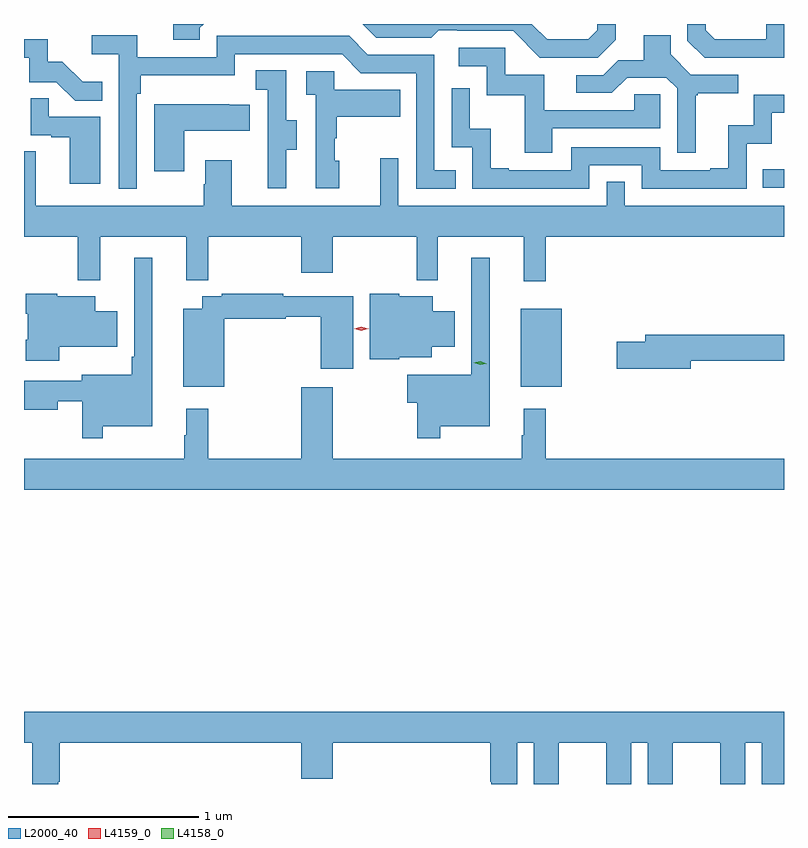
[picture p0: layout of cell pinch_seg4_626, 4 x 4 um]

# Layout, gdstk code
import gdstk
lib = gdstk.Library(unit=1e-6, precision=1e-09)
def R(c, l, rs):  # rectangles x0, y0, x1, y1
    for r in rs: c.add(gdstk.rectangle(r[:2], r[2:], *l))
def P(c, l, *ps):  # polygons
    for p in ps: c.add(gdstk.Polygon(p, *l))
L2000_40 = (2000, 40)
L4158_0 = (4158, 0)
L4159_0 = (4159, 0)

pinch_seg4_626 = lib.new_cell('pinch_seg4_626')
R(pinch_seg4_626, L2000_40, [(1029.299,754.739,1029.514,755.149), (1030.573,755.787,1030.684,755.884)])
P(pinch_seg4_626, L2000_40, [(1030.684,756.648),(1030.59,756.648),(1030.59,756.567),(1030.32,756.567),(1030.272,756.615),(1030.272,756.648),(1030.176,756.648),(1030.176,756.561),(1030.266,756.471),(1030.482,756.471),(1030.482,756.47),(1030.684,756.47)],
  [(1029.799,756.565),(1029.799,756.648),(1029.702,756.648),(1029.702,756.615),(1029.654,756.567),(1029.438,756.567),(1029.357,756.648),(1028.466,756.648),(1028.538,756.576),(1028.827,756.576),(1028.866,756.615),(1028.965,756.615),(1028.965,756.612),(1029.258,756.612),(1029.399,756.471),(1029.705,756.471)],
  [(1027.608,756.627),(1027.629,756.648),(1027.469,756.648),(1027.469,756.564),(1027.608,756.564)],
  [(1027.278,756.281),(1027.298,756.281),(1027.298,756.377),(1027.794,756.377),(1027.794,756.489),(1028.358,756.489),(1028.457,756.39),(1028.748,756.39),(1028.748,755.781),(1028.957,755.781),(1028.957,755.877),(1028.844,755.877),(1028.844,756.486),(1028.494,756.486),(1028.395,756.585),(1027.698,756.585),(1027.698,756.474),(1027.28,756.474),(1027.28,756.59),(1027.041,756.59),(1027.041,756.488),(1027.182,756.488),(1027.182,755.781),(1027.278,755.781)],
  [(1030.219,756.273),(1030.231,756.273),(1030.231,756.284),(1030.444,756.284),(1030.444,756.381),(1030.194,756.381),(1030.087,756.488),(1030.087,756.59),(1029.947,756.59),(1029.947,756.458),(1029.812,756.458),(1029.732,756.378),(1029.591,756.378),(1029.591,756.285),(1029.778,756.285),(1029.859,756.366),(1030.065,756.366),(1030.122,756.309),(1030.122,755.97),(1030.219,755.97)],
  [(1027.097,756.343),(1026.993,756.343),(1026.886,756.45),(1026.81,756.45),(1026.81,756.567),(1026.684,756.567),(1026.684,756.471),(1026.711,756.471),(1026.711,756.342),(1026.855,756.342),(1026.953,756.244),(1027.097,756.244)],
  [(1029.463,756.099),(1030.032,756.099),(1030.032,756.279),(1029.895,756.279),(1029.895,756.195),(1029.421,756.195),(1029.421,756.381),(1029.216,756.381),(1029.216,756.522),(1028.973,756.522),(1028.973,756.426),(1029.12,756.426),(1029.12,756.273),(1029.319,756.273),(1029.319,755.97),(1029.463,755.97)],
  [(1028.065,755.986),(1028.119,755.986),(1028.119,756.141),(1028.064,756.141),(1028.064,756.404),(1027.905,756.404),(1027.905,756.301),(1027.968,756.301),(1027.968,755.997),(1027.967,755.997),(1027.967,755.784),(1028.065,755.784)],
  [(1028.344,755.928),(1028.319,755.928),(1028.319,756.047),(1028.329,756.047),(1028.329,756.161),(1028.663,756.161),(1028.663,756.301),(1028.316,756.301),(1028.316,756.399),(1028.169,756.399),(1028.169,756.275),(1028.22,756.275),(1028.22,755.784),(1028.344,755.784)],
  [(1029.66,755.904),(1029.936,755.904),(1029.936,755.781),(1030.488,755.781),(1030.488,756.017),(1030.62,756.017),(1030.62,756.18),(1030.684,756.18),(1030.684,756.276),(1030.524,756.276),(1030.524,756.115),(1030.391,756.115),(1030.391,755.89),(1030.295,755.89),(1030.295,755.877),(1030.032,755.877),(1030.032,756),(1029.564,756),(1029.564,755.877),(1029.235,755.877),(1029.235,755.89),(1029.14,755.89),(1029.14,756.098),(1029.03,756.098),(1029.03,756.31),(1028.934,756.31),(1028.934,756),(1029.042,756),(1029.042,755.781),(1029.66,755.781)],
  [(1027.084,756.159),(1026.815,756.159),(1026.815,756.257),(1026.72,756.257),(1026.72,756.063),(1026.827,756.063),(1026.827,756.051),(1026.926,756.051),(1026.926,755.808),(1027.084,755.808)],
  [(1027.528,756.086),(1027.871,756.086),(1027.871,756.223),(1027.763,756.223),(1027.763,756.226),(1027.37,756.226),(1027.37,755.874),(1027.528,755.874)],
  [(1029.431,755.528),(1030.684,755.528),(1030.684,755.692),(1029.846,755.692),(1029.846,755.819),(1029.75,755.819),(1029.75,755.692),(1028.655,755.692),(1028.655,755.941),(1028.558,755.941),(1028.558,755.692),(1027.777,755.692),(1027.777,755.932),(1027.637,755.932),(1027.637,755.804),(1027.63,755.804),(1027.63,755.692),(1026.745,755.692),(1026.745,755.978),(1026.684,755.978),(1026.684,755.528),(1026.967,755.528),(1026.967,755.3),(1027.085,755.3),(1027.085,755.528),(1027.538,755.528),(1027.538,755.299),(1027.655,755.299),(1027.655,755.528),(1028.144,755.528),(1028.144,755.34),(1028.308,755.34),(1028.308,755.528),(1028.751,755.528),(1028.751,755.3),(1028.861,755.3),(1028.861,755.528),(1029.314,755.528),(1029.314,755.295),(1029.431,755.295)],
  [(1027.099,754.532),(1027.36,754.532),(1027.36,755.419),(1027.263,755.419),(1027.263,754.897),(1027.251,754.897),(1027.251,754.801),(1026.989,754.801),(1026.989,754.77),(1026.684,754.77),(1026.684,754.619),(1026.862,754.619),(1026.862,754.662),(1026.99,754.662),(1026.99,754.467),(1027.099,754.467)],
  [(1028.875,754.532),(1029.136,754.532),(1029.136,755.419),(1029.039,755.419),(1029.039,754.801),(1028.702,754.801),(1028.702,754.654),(1028.754,754.654),(1028.754,754.467),(1028.875,754.467)],
  [(1026.87,754.949),(1027.174,754.949),(1027.174,755.137),(1027.06,755.137),(1027.06,755.215),(1026.858,755.215),(1026.858,755.227),(1026.692,755.227),(1026.692,755.123),(1026.704,755.123),(1026.704,754.987),(1026.692,754.987),(1026.692,754.875),(1026.87,754.875)],
  [(1028.658,754.895),(1028.83,754.895),(1028.83,754.949),(1028.95,754.949),(1028.95,755.137),(1028.836,755.137),(1028.836,755.215),(1028.658,755.215),(1028.658,755.227),(1028.504,755.227),(1028.504,754.883),(1028.658,754.883)],
  [(1027.738,755.098),(1028.062,755.098),(1028.062,755.106),(1028.246,755.106),(1028.246,754.833),(1028.416,754.833),(1028.416,755.214),(1028.048,755.214),(1028.048,755.227),(1027.726,755.227),(1027.726,755.214),(1027.622,755.214),(1027.622,755.149),(1027.523,755.149),(1027.523,754.739),(1027.738,754.739)],
  [(1030.192,754.876),(1030.684,754.876),(1030.684,755.012),(1029.953,755.012),(1029.953,754.976),(1029.804,754.976),(1029.804,754.834),(1030.192,754.834)],
  [(1030.684,754.36),(1029.431,754.36),(1029.431,754.624),(1029.314,754.624),(1029.314,754.484),(1029.303,754.484),(1029.303,754.36),(1028.308,754.36),(1028.308,754.735),(1028.144,754.735),(1028.144,754.36),(1027.655,754.36),(1027.655,754.624),(1027.538,754.624),(1027.538,754.484),(1027.527,754.484),(1027.527,754.36),(1026.684,754.36),(1026.684,754.196),(1030.684,754.196)],
  [(1026.865,752.659),(1026.872,752.659),(1026.872,752.864),(1028.144,752.864),(1028.144,752.676),(1028.308,752.676),(1028.308,752.864),(1029.137,752.864),(1029.137,752.659),(1029.143,752.659),(1029.143,752.648),(1029.28,752.648),(1029.28,752.864),(1029.368,752.864),(1029.368,752.648),(1029.499,752.648),(1029.499,752.864),(1029.749,752.864),(1029.749,752.648),(1029.88,752.648),(1029.88,752.864),(1029.968,752.864),(1029.968,752.648),(1030.099,752.648),(1030.099,752.864),(1030.349,752.864),(1030.349,752.648),(1030.48,752.648),(1030.48,752.864),(1030.568,752.864),(1030.568,752.648),(1030.684,752.648),(1030.684,753.028),(1026.684,753.028),(1026.684,752.864),(1026.728,752.864),(1026.728,752.648),(1026.865,752.648)])
P(pinch_seg4_626, L4158_0, [(1029.084,754.854),(1029.05,754.866),(1029.049,754.866),(1029.05,754.866),(1029.085,754.874),(1029.12,754.861),(1029.12,754.861),(1029.12,754.861)])
P(pinch_seg4_626, L4159_0, [(1028.46,755.034),(1028.422,755.044),(1028.421,755.044),(1028.422,755.044),(1028.46,755.054),(1028.497,755.044),(1028.498,755.044),(1028.497,755.044)])

lib.write_gds('pinch_seg4_626.gds')
